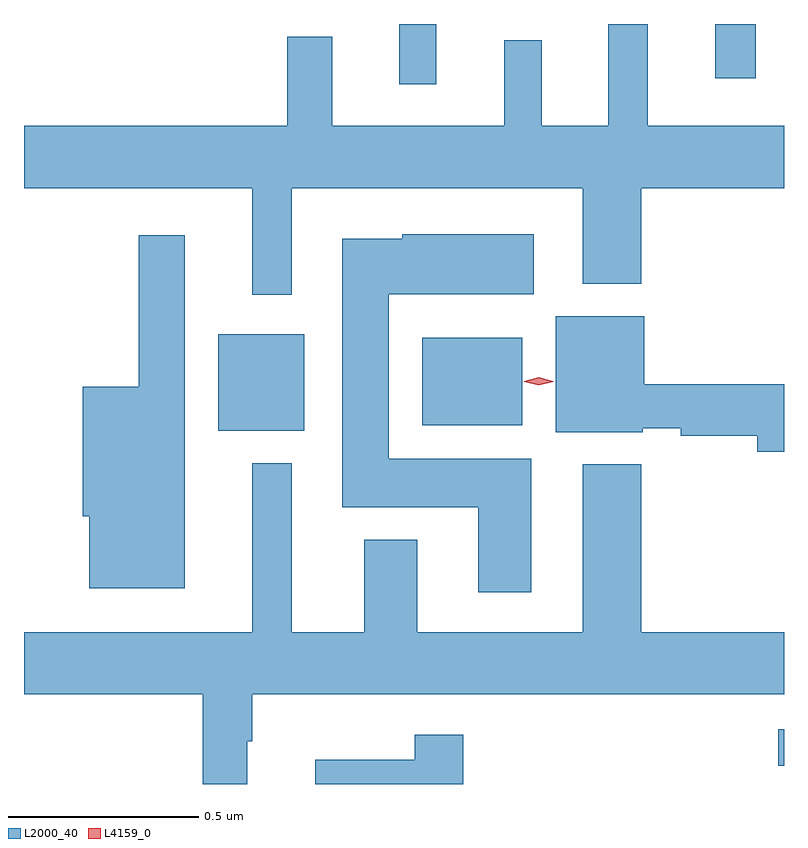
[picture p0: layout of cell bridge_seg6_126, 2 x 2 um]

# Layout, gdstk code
import gdstk
lib = gdstk.Library(unit=1e-6, precision=1e-09)
def R(c, l, rs):  # rectangles x0, y0, x1, y1
    for r in rs: c.add(gdstk.rectangle(r[:2], r[2:], *l))
def P(c, l, *ps):  # polygons
    for p in ps: c.add(gdstk.Polygon(p, *l))
L2000_40 = (2000, 40)
L4159_0 = (4159, 0)

bridge_seg6_126 = lib.new_cell('bridge_seg6_126')
R(bridge_seg6_126, L2000_40, [(496.179,983.112,496.194,983.208), (494.705,983.993,494.932,984.247), (495.242,984.008,495.505,984.238), (495.182,984.906,495.279,985.064), (496.013,984.921,496.12,985.064)])
P(bridge_seg6_126, L2000_40, [(494.899,984.632),(495.665,984.632),(495.665,984.38),(495.818,984.38),(495.818,984.632),(496.194,984.632),(496.194,984.796),(495.835,984.796),(495.835,985.064),(495.731,985.064),(495.731,984.796),(495.556,984.796),(495.556,985.021),(495.458,985.021),(495.458,984.796),(495.005,984.796),(495.005,985.03),(494.887,985.03),(494.887,984.796),(494.194,984.796),(494.194,984.632),(494.795,984.632),(494.795,984.351),(494.899,984.351)],
  [(495.529,983.92),(495.154,983.92),(495.154,984.353),(495.536,984.353),(495.536,984.511),(495.189,984.511),(495.189,984.499),(495.032,984.499),(495.032,983.792),(495.389,983.792),(495.389,983.568),(495.529,983.568)],
  [(494.617,984.508),(494.496,984.508),(494.496,984.109),(494.348,984.109),(494.348,983.769),(494.366,983.769),(494.366,983.579),(494.617,983.579)],
  [(496.194,984.116),(495.826,984.116),(495.826,984.295),(495.593,984.295),(495.593,983.99),(495.822,983.99),(495.822,984),(495.922,984),(495.922,983.98),(496.124,983.98),(496.124,983.938),(496.194,983.938)],
  [(494.782,983.177),(494.794,983.177),(494.794,983.3),(496.194,983.3),(496.194,983.464),(495.818,983.464),(495.818,983.905),(495.665,983.905),(495.665,983.464),(495.229,983.464),(495.229,983.707),(495.089,983.707),(495.089,983.464),(494.899,983.464),(494.899,983.908),(494.795,983.908),(494.795,983.464),(494.194,983.464),(494.194,983.3),(494.665,983.3),(494.665,983.064),(494.782,983.064)],
  [(495.35,983.194),(495.222,983.194),(495.222,983.128),(494.96,983.128),(494.96,983.064),(495.35,983.064)])
P(bridge_seg6_126, L4159_0, [(495.548,984.114),(495.51,984.123),(495.51,984.124),(495.51,984.124),(495.548,984.134),(495.587,984.124),(495.587,984.124),(495.587,984.123)])

lib.write_gds('bridge_seg6_126.gds')
